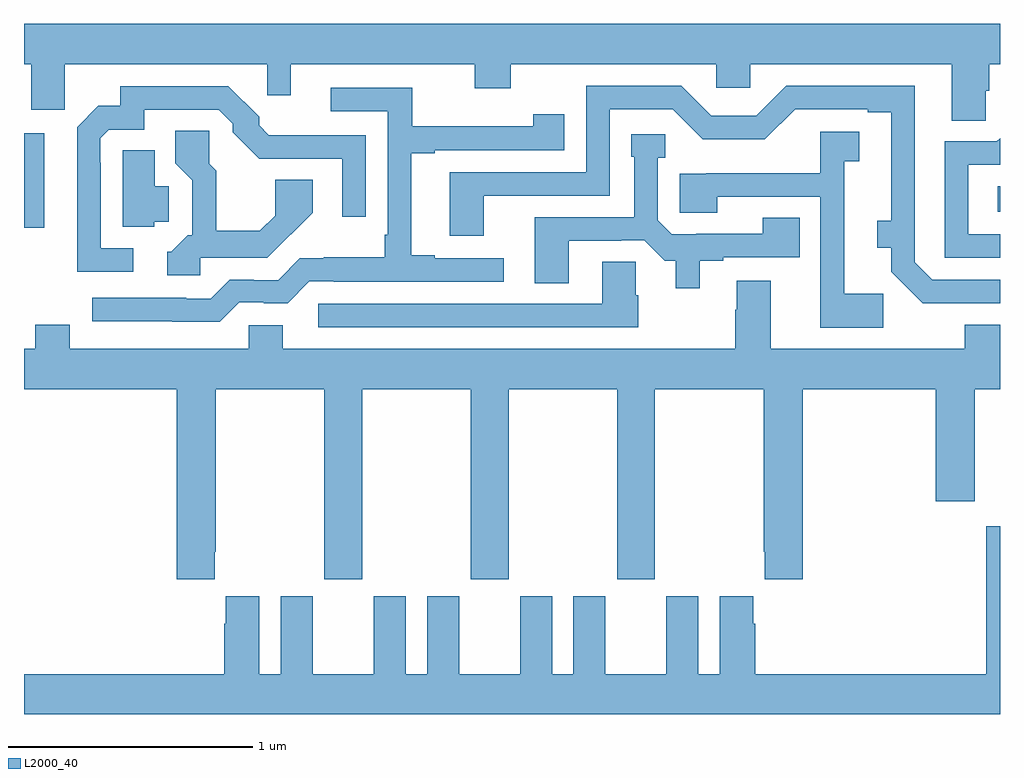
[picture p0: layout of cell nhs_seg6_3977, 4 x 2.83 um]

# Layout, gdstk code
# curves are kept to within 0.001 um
import gdstk
lib = gdstk.Library(unit=1e-6, precision=1e-09)
def R(c, l, rs):  # rectangles x0, y0, x1, y1
    for r in rs: c.add(gdstk.rectangle(r[:2], r[2:], *l))
def P(c, l, *ps):  # polygons
    for p in ps: c.add(gdstk.Polygon(p, *l))
L2000_40 = (2000, 40)

nhs_seg6_3977 = lib.new_cell('nhs_seg6_3977')
R(nhs_seg6_3977, L2000_40, [(345,983.961,345.082,984.349), (348.99,984.026,349,984.13)])
P(nhs_seg6_3977, L2000_40, [(348.942,984.523),(348.956,984.523),(348.956,984.632),(349,984.632),(349,984.796),(345,984.796),(345,984.632),(345.029,984.632),(345.029,984.444),(345.167,984.444),(345.167,984.632),(345.997,984.632),(345.997,984.503),(346.093,984.503),(346.093,984.632),(346.847,984.632),(346.847,984.533),(346.995,984.533),(346.995,984.632),(347.838,984.632),(347.838,984.534),(347.976,984.534),(347.976,984.632),(348.803,984.632),(348.803,984.4),(348.942,984.4)],
  [(348.784,983.652),(349,983.652),(349,983.748),(348.723,983.748),(348.651,983.82),(348.651,984.543),(348.123,984.543),(348,984.42),(347.817,984.42),(347.694,984.543),(347.304,984.543),(347.304,984.189),(346.745,984.189),(346.745,983.928),(346.885,983.928),(346.885,984.093),(347.4,984.093),(347.4,984.447),(347.658,984.447),(347.782,984.323),(348.036,984.323),(348.16,984.447),(348.458,984.447),(348.458,984.435),(348.554,984.435),(348.554,983.989),(348.497,983.989),(348.497,983.879),(348.554,983.879),(348.554,983.78),(348.683,983.651)],
  [(345.448,983.877),(345.315,983.877),(345.315,984.227),(345.312,984.227),(345.312,984.327),(345.348,984.363),(345.492,984.363),(345.492,984.444),(345.798,984.444),(345.855,984.387),(345.855,984.353),(345.965,984.243),(346.305,984.243),(346.305,984.006),(346.401,984.006),(346.401,984.339),(346.004,984.34),(345.964,984.381),(345.964,984.415),(345.838,984.54),(345.394,984.54),(345.394,984.46),(345.304,984.46),(345.218,984.373),(345.218,983.781),(345.448,983.781)],
  [(345.882,983.655),(345.983,983.655),(345.983,983.652),(346.08,983.652),(346.17,983.742),(346.27,983.742),(346.27,983.739),(346.966,983.739),(346.966,983.835),(346.684,983.835),(346.684,983.848),(346.588,983.848),(346.588,984.267),(346.684,984.267),(346.684,984.279),(347.215,984.279),(347.215,984.427),(347.087,984.427),(347.087,984.376),(346.592,984.376),(346.592,984.534),(346.257,984.534),(346.257,984.438),(346.491,984.438),(346.491,983.932),(346.479,983.932),(346.479,983.839),(346.228,983.839),(346.228,983.835),(346.131,983.835),(346.041,983.745),(345.941,983.745),(345.941,983.748),(345.843,983.748),(345.765,983.67),(345.665,983.67),(345.665,983.673),(345.279,983.673),(345.279,983.577),(345.803,983.576)],
  [(345.723,983.838),(345.997,983.838),(346.183,984.022),(346.183,984.158),(346.029,984.158),(346.029,984.01),(345.967,983.949),(345.788,983.949),(345.788,984.194),(345.759,984.223),(345.759,984.358),(345.62,984.358),(345.62,984.226),(345.69,984.156),(345.69,983.931),(345.672,983.931),(345.603,983.862),(345.587,983.862),(345.587,983.766),(345.723,983.766)],
  [(348.522,983.691),(348.361,983.691),(348.361,984.234),(348.424,984.234),(348.424,984.355),(348.264,984.355),(348.264,984.184),(347.797,984.184),(347.797,984.183),(347.687,984.183),(347.687,984.022),(347.841,984.022),(347.841,984.087),(348.264,984.087),(348.264,983.552),(348.522,983.552)],
  [(347.77,983.826),(347.866,983.826),(347.866,983.841),(348.179,983.841),(348.179,984.002),(348.028,984.002),(348.028,983.937),(347.755,983.937),(347.755,983.934),(347.655,983.934),(347.598,983.991),(347.598,984.247),(347.628,984.247),(347.628,984.345),(347.489,984.345),(347.489,984.252),(347.502,984.252),(347.502,984.003),(347.093,984.003),(347.093,983.734),(347.233,983.734),(347.233,983.907),(347.447,983.907),(347.447,983.91),(347.541,983.91),(347.625,983.826),(347.672,983.826),(347.672,983.712),(347.77,983.712)],
  [(349,983.934),(348.87,983.934),(348.87,984.219),(349,984.219),(349,984.328),(348.987,984.315),(348.774,984.315),(348.774,983.838),(349,983.838)],
  [(345.534,983.985),(345.594,983.985),(345.594,984.131),(345.535,984.131),(345.535,984.278),(345.405,984.278),(345.405,983.966),(345.534,983.966)],
  [(347.517,983.685),(347.507,983.685),(347.507,983.822),(347.369,983.822),(347.369,983.649),(346.206,983.649),(346.206,983.553),(347.517,983.553)],
  [(348.856,983.464),(348.061,983.464),(348.061,983.743),(347.921,983.743),(347.921,983.624),(347.914,983.624),(347.914,983.464),(346.06,983.464),(346.06,983.562),(345.921,983.562),(345.921,983.464),(345.187,983.464),(345.187,983.563),(345.047,983.563),(345.047,983.464),(345,983.464),(345,983.3),(345.626,983.3),(345.626,982.521),(345.781,982.521),(345.781,982.633),(345.786,982.633),(345.786,983.3),(346.231,983.3),(346.231,982.521),(346.386,982.521),(346.386,983.3),(346.831,983.3),(346.831,982.521),(346.986,982.521),(346.986,983.3),(347.431,983.3),(347.431,982.521),(347.586,982.521),(347.586,983.3),(348.031,983.3),(348.031,982.633),(348.035,982.633),(348.035,982.521),(348.191,982.521),(348.191,983.3),(348.737,983.3),(348.737,982.839),(348.897,982.839),(348.897,983.3),(349,983.3),(349,983.563),(348.856,983.563)],
  [(349,982.738),(348.944,982.738),(348.944,982.132),(347.996,982.132),(347.996,982.337),(347.989,982.337),(347.989,982.45),(347.852,982.45),(347.852,982.132),(347.764,982.132),(347.764,982.45),(347.633,982.45),(347.633,982.132),(347.383,982.132),(347.383,982.45),(347.252,982.45),(347.252,982.132),(347.164,982.132),(347.164,982.45),(347.033,982.45),(347.033,982.132),(346.783,982.132),(346.783,982.45),(346.652,982.45),(346.652,982.132),(346.564,982.132),(346.564,982.45),(346.433,982.45),(346.433,982.132),(346.183,982.132),(346.183,982.45),(346.052,982.45),(346.052,982.132),(345.964,982.132),(345.964,982.45),(345.827,982.45),(345.827,982.337),(345.821,982.337),(345.821,982.132),(345,982.132),(345,981.968),(349,981.968)])

lib.write_gds('nhs_seg6_3977.gds')
